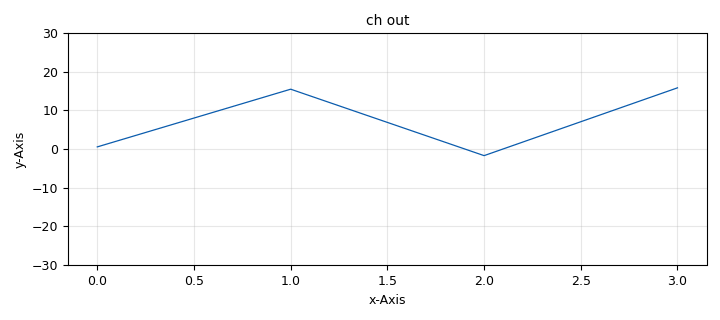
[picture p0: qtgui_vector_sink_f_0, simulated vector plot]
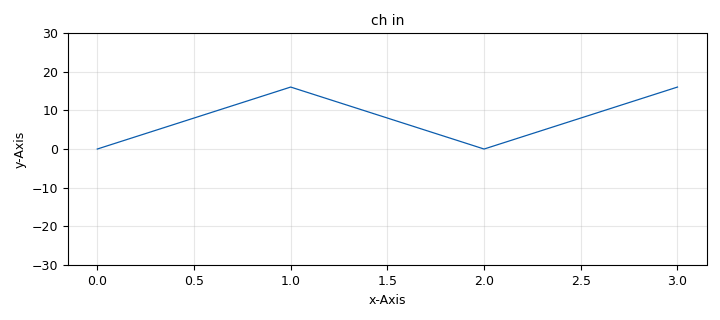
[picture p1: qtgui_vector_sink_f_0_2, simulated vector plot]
<?xml version='1.0' encoding='utf-8'?>
<?grc format='1' created='3.7.13'?>
<flow_graph>
<block>
<key>options</key>
<param><key>id</key><value>top_block</value></param>
<param><key>category</key><value>Custom</value></param>
<param><key>generate_options</key><value>qt_gui</value></param>
</block>
<block>
<key>variable</key>
<param><key>id</key><value>samp_rate</value></param>
<param><key>value</key><value>32000</value></param>
</block>
<block>
<key>variable_tag_object</key>
<param><key>id</key><value>vec_end</value></param>
<param><key>key</key><value>pmt.intern("sync")</value></param>
<param><key>offset</key><value>int(4)</value></param>
<param><key>src</key><value>pmt.intern("src")</value></param>
<param><key>value</key><value>pmt.intern("true")</value></param>
</block>
<block>
<key>variable_tag_object</key>
<param><key>id</key><value>vector_start</value></param>
<param><key>key</key><value>pmt.intern("sync")</value></param>
<param><key>offset</key><value>int(4)</value></param>
<param><key>src</key><value>pmt.intern("src")</value></param>
<param><key>value</key><value>pmt.intern("False")</value></param>
</block>
<block>
<key>analog_noise_source_x</key>
<param><key>id</key><value>analog_noise_source_x_0</value></param>
<param><key>amp</key><value>1</value></param>
<param><key>noise_type</key><value>analog.GR_GAUSSIAN</value></param>
<param><key>type</key><value>complex</value></param>
<param><key>seed</key><value>0</value></param>
</block>
<block>
<key>blocks_add_xx</key>
<param><key>id</key><value>blocks_add_xx_0</value></param>
<param><key>type</key><value>float</value></param>
<param><key>vlen</key><value>4</value></param>
</block>
<block>
<key>blocks_add_xx</key>
<param><key>id</key><value>blocks_add_xx_2</value></param>
<param><key>type</key><value>float</value></param>
<param><key>num_inputs</key><value>4</value></param>
</block>
<block>
<key>blocks_add_xx</key>
<param><key>id</key><value>blocks_add_xx_2_0</value></param>
<param><key>type</key><value>float</value></param>
<param><key>num_inputs</key><value>4</value></param>
</block>
<block>
<key>blocks_add_xx</key>
<param><key>id</key><value>blocks_add_xx_3</value></param>
<param><key>type</key><value>complex</value></param>
</block>
<block>
<key>blocks_complex_to_float</key>
<param><key>id</key><value>blocks_complex_to_float_0</value></param>
<param><key>vlen</key><value>4</value></param>
</block>
<block>
<key>blocks_float_to_complex</key>
<param><key>id</key><value>blocks_float_to_complex_0</value></param>
<param><key>vlen</key><value>4</value></param>
</block>
<block>
<key>blocks_multiply_const_vxx</key>
<param><key>id</key><value>blocks_multiply_const_vxx_1</value></param>
<param><key>const</key><value>(1,1,-1,1)</value></param>
<param><key>type</key><value>float</value></param>
<param><key>vlen</key><value>4</value></param>
</block>
<block>
<key>blocks_multiply_const_vxx</key>
<param><key>id</key><value>blocks_multiply_const_vxx_1_0</value></param>
<param><key>const</key><value>(-1,1,1,1)</value></param>
<param><key>type</key><value>float</value></param>
<param><key>vlen</key><value>4</value></param>
</block>
<block>
<key>blocks_multiply_const_vxx</key>
<param><key>id</key><value>blocks_multiply_const_vxx_1_0_0</value></param>
<param><key>const</key><value>(-1,1,1,1)</value></param>
<param><key>type</key><value>float</value></param>
<param><key>vlen</key><value>4</value></param>
</block>
<block>
<key>blocks_multiply_const_vxx</key>
<param><key>id</key><value>blocks_multiply_const_vxx_1_1</value></param>
<param><key>const</key><value>(1,1,-1,1)</value></param>
<param><key>type</key><value>float</value></param>
<param><key>vlen</key><value>4</value></param>
</block>
<block>
<key>blocks_multiply_const_vxx</key>
<param><key>id</key><value>blocks_multiply_const_vxx_1_2</value></param>
<param><key>const</key><value>0.25</value></param>
<param><key>type</key><value>float</value></param>
</block>
<block>
<key>blocks_multiply_const_vxx</key>
<param><key>id</key><value>blocks_multiply_const_vxx_1_2_0</value></param>
<param><key>const</key><value>0.25</value></param>
<param><key>type</key><value>float</value></param>
</block>
<block>
<key>blocks_stream_to_vector</key>
<param><key>id</key><value>blocks_stream_to_vector_0</value></param>
<param><key>type</key><value>complex</value></param>
<param><key>num_items</key><value>4</value></param>
</block>
<block>
<key>blocks_vector_source_x</key>
<param><key>id</key><value>blocks_vector_source_x_0_0</value></param>
<param><key>type</key><value>float</value></param>
<param><key>repeat</key><value>True</value></param>
<param><key>tags</key><value>[vector_start,vec_end]</value></param>
<param><key>vlen</key><value>4</value></param>
<param><key>vector</key><value>(-4,8,4,8)</value></param>
</block>
<block>
<key>blocks_vector_source_x</key>
<param><key>id</key><value>blocks_vector_source_x_0_0_0</value></param>
<param><key>type</key><value>float</value></param>
<param><key>repeat</key><value>True</value></param>
<param><key>tags</key><value>[vector_start,vec_end]</value></param>
<param><key>vlen</key><value>4</value></param>
<param><key>vector</key><value>(-4,8,4,8)</value></param>
</block>
<block>
<key>blocks_vector_source_x</key>
<param><key>id</key><value>blocks_vector_source_x_0_0_0_0</value></param>
<param><key>type</key><value>float</value></param>
<param><key>repeat</key><value>True</value></param>
<param><key>tags</key><value>[vector_start,vec_end]</value></param>
<param><key>vlen</key><value>4</value></param>
<param><key>vector</key><value>(0,0,0,0)</value></param>
</block>
<block>
<key>blocks_vector_to_stream</key>
<param><key>id</key><value>blocks_vector_to_stream_0</value></param>
<param><key>type</key><value>complex</value></param>
<param><key>num_items</key><value>4</value></param>
</block>
<block>
<key>blocks_vector_to_streams</key>
<param><key>id</key><value>blocks_vector_to_streams_0</value></param>
<param><key>type</key><value>float</value></param>
<param><key>num_streams</key><value>4</value></param>
</block>
<block>
<key>blocks_vector_to_streams</key>
<param><key>id</key><value>blocks_vector_to_streams_0_0</value></param>
<param><key>type</key><value>float</value></param>
<param><key>num_streams</key><value>4</value></param>
</block>
<block>
<key>qtgui_number_sink</key>
<param><key>id</key><value>qtgui_number_sink_0</value></param>
<param><key>graph_type</key><value>qtgui.NUM_GRAPH_HORIZ</value></param>
<param><key>type</key><value>float</value></param>
<param><key>max</key><value>4</value></param>
<param><key>min</key><value>-4</value></param>
</block>
<block>
<key>qtgui_number_sink</key>
<param><key>id</key><value>qtgui_number_sink_1</value></param>
<param><key>graph_type</key><value>qtgui.NUM_GRAPH_HORIZ</value></param>
<param><key>type</key><value>float</value></param>
<param><key>max</key><value>4</value></param>
<param><key>min</key><value>-4</value></param>
</block>
<block>
<key>qtgui_vector_sink_f</key>
<param><key>id</key><value>qtgui_vector_sink_f_0</value></param>
<param><key>average</key><value>0.2</value></param>
<param><key>name</key><value>"ch out"</value></param>
<param><key>showports</key><value>True</value></param>
<param><key>vlen</key><value>4</value></param>
<param><key>x_start</key><value>0</value></param>
<param><key>x_step</key><value>1.0</value></param>
<param><key>ymax</key><value>30</value></param>
<param><key>ymin</key><value>-30</value></param>
</block>
<block>
<key>qtgui_vector_sink_f</key>
<param><key>id</key><value>qtgui_vector_sink_f_0_2</value></param>
<param><key>name</key><value>"ch in"</value></param>
<param><key>showports</key><value>True</value></param>
<param><key>vlen</key><value>4</value></param>
<param><key>x_start</key><value>0</value></param>
<param><key>x_step</key><value>1.0</value></param>
<param><key>ymax</key><value>30</value></param>
<param><key>ymin</key><value>-30</value></param>
</block>
<block>
<key>virtual_sink</key>
<param><key>id</key><value>virtual_sink_1</value></param>
</block>
<block>
<key>virtual_source</key>
<param><key>id</key><value>virtual_source_0</value></param>
</block>
<connection><source_block_id>analog_noise_source_x_0</source_block_id><sink_block_id>blocks_add_xx_3</sink_block_id><source_key>0</source_key><sink_key>1</sink_key></connection>
<connection><source_block_id>blocks_add_xx_0</source_block_id><sink_block_id>blocks_float_to_complex_0</sink_block_id><source_key>0</source_key><sink_key>0</sink_key></connection>
<connection><source_block_id>blocks_add_xx_0</source_block_id><sink_block_id>qtgui_vector_sink_f_0_2</sink_block_id><source_key>0</source_key><sink_key>0</sink_key></connection>
<connection><source_block_id>blocks_add_xx_2</source_block_id><sink_block_id>blocks_multiply_const_vxx_1_2</sink_block_id><source_key>0</source_key><sink_key>0</sink_key></connection>
<connection><source_block_id>blocks_add_xx_2_0</source_block_id><sink_block_id>blocks_multiply_const_vxx_1_2_0</sink_block_id><source_key>0</source_key><sink_key>0</sink_key></connection>
<connection><source_block_id>blocks_add_xx_3</source_block_id><sink_block_id>virtual_sink_1</sink_block_id><source_key>0</source_key><sink_key>0</sink_key></connection>
<connection><source_block_id>blocks_complex_to_float_0</source_block_id><sink_block_id>blocks_multiply_const_vxx_1_0_0</sink_block_id><source_key>0</source_key><sink_key>0</sink_key></connection>
<connection><source_block_id>blocks_complex_to_float_0</source_block_id><sink_block_id>blocks_multiply_const_vxx_1_1</sink_block_id><source_key>0</source_key><sink_key>0</sink_key></connection>
<connection><source_block_id>blocks_complex_to_float_0</source_block_id><sink_block_id>qtgui_vector_sink_f_0</sink_block_id><source_key>0</source_key><sink_key>0</sink_key></connection>
<connection><source_block_id>blocks_float_to_complex_0</source_block_id><sink_block_id>blocks_vector_to_stream_0</sink_block_id><source_key>0</source_key><sink_key>0</sink_key></connection>
<connection><source_block_id>blocks_multiply_const_vxx_1</source_block_id><sink_block_id>blocks_add_xx_0</sink_block_id><source_key>0</source_key><sink_key>0</sink_key></connection>
<connection><source_block_id>blocks_multiply_const_vxx_1_0</source_block_id><sink_block_id>blocks_add_xx_0</sink_block_id><source_key>0</source_key><sink_key>1</sink_key></connection>
<connection><source_block_id>blocks_multiply_const_vxx_1_0_0</source_block_id><sink_block_id>blocks_vector_to_streams_0_0</sink_block_id><source_key>0</source_key><sink_key>0</sink_key></connection>
<connection><source_block_id>blocks_multiply_const_vxx_1_1</source_block_id><sink_block_id>blocks_vector_to_streams_0</sink_block_id><source_key>0</source_key><sink_key>0</sink_key></connection>
<connection><source_block_id>blocks_multiply_const_vxx_1_2</source_block_id><sink_block_id>qtgui_number_sink_0</sink_block_id><source_key>0</source_key><sink_key>0</sink_key></connection>
<connection><source_block_id>blocks_multiply_const_vxx_1_2_0</source_block_id><sink_block_id>qtgui_number_sink_1</sink_block_id><source_key>0</source_key><sink_key>0</sink_key></connection>
<connection><source_block_id>blocks_stream_to_vector_0</source_block_id><sink_block_id>blocks_complex_to_float_0</sink_block_id><source_key>0</source_key><sink_key>0</sink_key></connection>
<connection><source_block_id>blocks_vector_source_x_0_0</source_block_id><sink_block_id>blocks_multiply_const_vxx_1</sink_block_id><source_key>0</source_key><sink_key>0</sink_key></connection>
<connection><source_block_id>blocks_vector_source_x_0_0_0</source_block_id><sink_block_id>blocks_multiply_const_vxx_1_0</sink_block_id><source_key>0</source_key><sink_key>0</sink_key></connection>
<connection><source_block_id>blocks_vector_source_x_0_0_0_0</source_block_id><sink_block_id>blocks_float_to_complex_0</sink_block_id><source_key>0</source_key><sink_key>1</sink_key></connection>
<connection><source_block_id>blocks_vector_to_stream_0</source_block_id><sink_block_id>blocks_add_xx_3</sink_block_id><source_key>0</source_key><sink_key>0</sink_key></connection>
<connection><source_block_id>blocks_vector_to_streams_0</source_block_id><sink_block_id>blocks_add_xx_2</sink_block_id><source_key>0</source_key><sink_key>0</sink_key></connection>
<connection><source_block_id>blocks_vector_to_streams_0</source_block_id><sink_block_id>blocks_add_xx_2</sink_block_id><source_key>1</source_key><sink_key>1</sink_key></connection>
<connection><source_block_id>blocks_vector_to_streams_0</source_block_id><sink_block_id>blocks_add_xx_2</sink_block_id><source_key>2</source_key><sink_key>2</sink_key></connection>
<connection><source_block_id>blocks_vector_to_streams_0</source_block_id><sink_block_id>blocks_add_xx_2</sink_block_id><source_key>3</source_key><sink_key>3</sink_key></connection>
<connection><source_block_id>blocks_vector_to_streams_0_0</source_block_id><sink_block_id>blocks_add_xx_2_0</sink_block_id><source_key>0</source_key><sink_key>0</sink_key></connection>
<connection><source_block_id>blocks_vector_to_streams_0_0</source_block_id><sink_block_id>blocks_add_xx_2_0</sink_block_id><source_key>1</source_key><sink_key>1</sink_key></connection>
<connection><source_block_id>blocks_vector_to_streams_0_0</source_block_id><sink_block_id>blocks_add_xx_2_0</sink_block_id><source_key>2</source_key><sink_key>2</sink_key></connection>
<connection><source_block_id>blocks_vector_to_streams_0_0</source_block_id><sink_block_id>blocks_add_xx_2_0</sink_block_id><source_key>3</source_key><sink_key>3</sink_key></connection>
<connection><source_block_id>virtual_source_0</source_block_id><sink_block_id>blocks_stream_to_vector_0</sink_block_id><source_key>0</source_key><sink_key>0</sink_key></connection>
</flow_graph>
